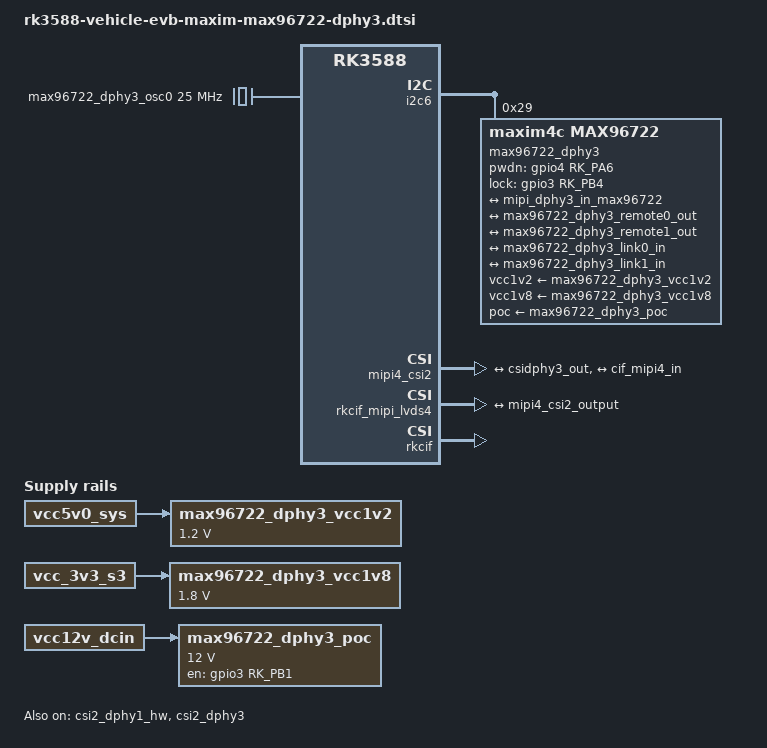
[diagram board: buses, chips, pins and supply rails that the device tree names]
// SPDX-License-Identifier: (GPL-2.0+ OR MIT)
/*
 * Copyright (c) 2023 Rockchip Electronics Co., Ltd.
 *
 */
#include <dt-bindings/display/media-bus-format.h>

/ {
	max96722_dphy3_osc0: max96722-dphy3-oscillator@0 {
		compatible = "fixed-clock";
		#clock-cells = <1>;
		clock-frequency = <25000000>;
		clock-output-names = "max96722-dphy3-osc0";
	};

	max96722_dphy3_vcc1v2: max96722-dphy3-vcc1v2 {
		compatible = "regulator-fixed";
		regulator-name = "max96722_dphy3_vcc1v2";
		regulator-boot-on;
		regulator-always-on;
		regulator-min-microvolt = <1200000>;
		regulator-max-microvolt = <1200000>;
		startup-delay-us = <850>;
		vin-supply = <&vcc5v0_sys>;
	};

	max96722_dphy3_vcc1v8: max96722-dphy3-vcc1v8 {
		compatible = "regulator-fixed";
		regulator-name = "max96722_dphy3_vcc1v8";
		regulator-boot-on;
		regulator-always-on;
		regulator-min-microvolt = <1800000>;
		regulator-max-microvolt = <1800000>;
		startup-delay-us = <200>;
		vin-supply = <&vcc_3v3_s3>;
	};

	max96722_dphy3_poc: max96722-dphy3-poc {
		compatible = "regulator-fixed";
		regulator-name = "max96722_dphy3_poc";
		regulator-boot-on;
		regulator-always-on;
		regulator-min-microvolt = <12000000>;
		regulator-max-microvolt = <12000000>;
		enable-active-high;
		gpio = <&gpio3 RK_PB1 GPIO_ACTIVE_HIGH>;
		startup-delay-us = <1050>;
		off-on-delay-us = <515000>;
		vin-supply = <&vcc12v_dcin>;
	};
};

&csi2_dphy1_hw {
	status = "okay";
};

&csi2_dphy3 {
	status = "okay";

	ports {
		#address-cells = <1>;
		#size-cells = <0>;
		port@0 {
			reg = <0>;
			#address-cells = <1>;
			#size-cells = <0>;

			mipi_dphy3_in_max96722: endpoint@1 {
				reg = <1>;
				remote-endpoint = <&max96722_dphy3_out>;
				data-lanes = <1 2 3 4>;
			};
		};
		port@1 {
			reg = <1>;
			#address-cells = <1>;
			#size-cells = <0>;

			csidphy3_out: endpoint@0 {
				reg = <0>;
				remote-endpoint = <&mipi4_csi2_input>;
			};
		};
	};
};

&i2c6 {
	status = "okay";
	pinctrl-names = "default";
	pinctrl-0 = <&i2c6m3_xfer>;

	max96722_dphy3: max96722@29 {
		compatible = "maxim4c,max96722";
		status = "okay";
		reg = <0x29>;
		clock-names = "xvclk";
		clocks = <&max96722_dphy3_osc0 0>;
		pinctrl-names = "default";
		pinctrl-0 = <&max96722_dphy3_pwdn>, <&max96722_dphy3_errb>, <&max96722_dphy3_lock>;
		power-domains = <&power RK3588_PD_VI>;
		rockchip,grf = <&sys_grf>;
		pwdn-gpios = <&gpio4 RK_PA6 GPIO_ACTIVE_HIGH>;
		lock-gpios = <&gpio3 RK_PB4 GPIO_ACTIVE_HIGH>;
		vcc1v2-supply = <&max96722_dphy3_vcc1v2>;
		vcc1v8-supply = <&max96722_dphy3_vcc1v8>;
		poc-supply = <&max96722_dphy3_poc>;

		rockchip,camera-module-index = <0>;
		rockchip,camera-module-facing = "back";
		rockchip,camera-module-name = "max96722";
		rockchip,camera-module-lens-name = "max96722";

		port {
			max96722_dphy3_out: endpoint {
				remote-endpoint = <&mipi_dphy3_in_max96722>;
				data-lanes = <1 2 3 4>;
			};
		};

		/* support mode config start */
		support-mode-config {
			status = "okay";

			bus-format = <MEDIA_BUS_FMT_UYVY8_2X8>;
			sensor-width = <1600>;
			sensor-height = <1300>;
			max-fps-numerator = <10000>;
			max-fps-denominator = <300000>;
			bpp = <16>;
			link-freq-idx = <20>;
			vc-array = <0x10 0x20 0x40 0x80>; // VC0~3: bit4~7
		};
		/* support mode config end */

		/* serdes local device start */
		serdes-local-device {
			status = "okay";

			/* GMSL LINK config start */
			gmsl-links {
				status = "okay";

				link-vdd-ldo1-en = <1>;
				link-vdd-ldo2-en = <1>;

				// Link A: link-id = 0
				gmsl-link-config-0 {
					status = "okay";
					link-id = <0>; // Link ID: 0/1/2/3

					link-type = <1>;
					link-rx-rate = <0>;
					link-tx-rate = <0>;

					port {
						max96722_dphy3_link0_in: endpoint {
							remote-endpoint = <&max96722_dphy3_remote0_out>;
						};
					};

					link-init-sequence {
						seq-item-size = <5>; // reg-addr-len + reg-val-len * 2 + 1
						reg-addr-len = <2>; // 1: 8bits, 2: 16bits
						reg-val-len = <1>; // 1: 8bits, 2: 16bits, 3: 24bits

						// reg_addr reg_val val_mask delay
						init-sequence = [
							14 D1 03 00 00 // VGAHiGain
							14 45 00 00 00 // Disable SSC
						];
					};
				};

				// Link B: link-id = 1
				gmsl-link-config-1 {
					status = "okay";
					link-id = <1>; // Link ID: 0/1/2/3

					link-type = <1>;
					link-rx-rate = <0>;
					link-tx-rate = <0>;

					port {
						max96722_dphy3_link1_in: endpoint {
							remote-endpoint = <&max96722_dphy3_remote1_out>;
						};
					};

					link-init-sequence {
						seq-item-size = <5>; // reg-addr-len + reg-val-len * 2 + 1
						reg-addr-len = <2>; // 1: 8bits, 2: 16bits
						reg-val-len = <1>; // 1: 8bits, 2: 16bits, 3: 24bits

						// reg_addr reg_val val_mask delay
						init-sequence = [
							15 D1 03 00 00 // VGAHiGain
							15 45 00 00 00 // Disable SSC
						];
					};
				};
			};
			/* GMSL LINK config end */

			/* VIDEO PIPE config start */
			video-pipes {
				status = "okay";

				// Video Pipe 0
				video-pipe-config-0 {
					status = "okay";
					pipe-id = <0>; // Video Pipe ID: 0/1/2/3/4/5/6/7

					pipe-idx = <0>; // Video Pipe X/Y/Z/U: 0/1/2/3
					link-idx = <0>; // Link A/B/C/D: 0/1/2/3

					pipe-init-sequence {
						seq-item-size = <5>; // reg-addr-len + reg-val-len * 2 + 1
						reg-addr-len = <2>; // 1: 8bits, 2: 16bits
						reg-val-len = <1>; // 1: 8bits, 2: 16bits, 3: 24bits

						// reg_addr reg_val val_mask delay
						init-sequence = [
							// Send YUV422, FS, and FE from Video Pipe 0 to Controller 1
							09 0B 07 00 00 // Enable 0/1/2 SRC/DST Mappings
							09 2D 15 00 00 // SRC/DST 0/1/2 -> CSI2 Controller 1;
							// For the following MSB 2 bits = VC, LSB 6 bits = DT
							09 0D 1e 00 00 // SRC0 VC = 0, DT = YUV422 8bit
							09 0E 1e 00 00 // DST0 VC = 0, DT = YUV422 8bit
							09 0F 00 00 00 // SRC1 VC = 0, DT = Frame Start
							09 10 00 00 00 // DST1 VC = 0, DT = Frame Start
							09 11 01 00 00 // SRC2 VC = 0, DT = Frame End
							09 12 01 00 00 // DST2 VC = 0, DT = Frame End
							// pipe Cross
							01 D9 59 00 00 // pipe 0: Inverts Cross VS
						];
					};
				};

				// Video Pipe 1
				video-pipe-config-1 {
					status = "okay";
					pipe-id = <1>; // Video Pipe 1: pipe-id = 1

					pipe-idx = <0>; // Video Pipe X/Y/Z/U: 0/1/2/3
					link-idx = <1>; // Link A/B/C/D: 0/1/2/3

					pipe-init-sequence {
						seq-item-size = <5>; // reg-addr-len + reg-val-len * 2 + 1
						reg-addr-len = <2>; // 1: 8bits, 2: 16bits
						reg-val-len = <1>; // 1: 8bits, 2: 16bits, 3: 24bits

						// reg_addr reg_val val_mask delay
						init-sequence = [
							// Send YUV422, FS, and FE from Video Pipe 1 to Controller 1
							09 4B 07 00 00 // Enable 0/1/2 SRC/DST Mappings
							09 6D 15 00 00 // SRC/DST 0/1/2 -> CSI2 Controller 1;
							// For the following MSB 2 bits = VC, LSB 6 bits = DT
							09 4D 1e 00 00 // SRC0 VC = 0, DT = YUV422 8bit
							09 4E 5e 00 00 // DST0 VC = 1, DT = YUV422 8bit
							09 4F 00 00 00 // SRC1 VC = 0, DT = Frame Start
							09 50 40 00 00 // DST1 VC = 1, DT = Frame Start
							09 51 01 00 00 // SRC2 VC = 0, DT = Frame End
							09 52 41 00 00 // DST2 VC = 1, DT = Frame End
							// pipe Cross
							01 F9 59 00 00 // pipe 1: Inverts Cross VS
						];
					};
				};

				// Software override for parallel mode
				parallel-mode-config {
					status = "okay";

					parallel-init-sequence {
						seq-item-size = <5>; // reg-addr-len + reg-val-len * 2 + 1
						reg-addr-len = <2>; // 1: 8bits, 2: 16bits
						reg-val-len = <1>; // 1: 8bits, 2: 16bits, 3: 24bits

						// reg_addr reg_val val_mask delay
						init-sequence = [
							// Enable software override for all pipes since GMSL1 data is parallel mode, bpp=8, dt=0x1e(yuv-8)
							04 1A f0 00 00 // pipe 0/1/2/3: Enable YUV8-/10-bit mux mode
							04 0B 40 00 00 // pipe 0 bpp=0x08: Datatypes = 0x2A, 0x10-12, 0x31-37
							04 0C 00 00 00 // pipe 0 and 1 VC software override: 0x00
							04 0D 00 00 00 // pipe 2 and 3 VC software override: 0x00
							04 0E 5e 00 00 // pipe 0 DT=0x1E: YUV422 8-bit
							04 0F 7e 00 00 // pipe 1 DT=0x1E: YUV422 8-bit
							04 10 7a 00 00 // pipe 2 DT=0x1E, pipe 3 DT=0x1E: YUV422 8-bit
							04 11 48 00 00 // pipe 1 bpp=0x08: Datatypes = 0x2A, 0x10-12, 0x31-37
							04 12 20 00 00 // pipe 2 bpp=0x08, pipe 3 bpp=0x08: Datatypes = 0x2A, 0x10-12, 0x31-37
							04 15 c0 c0 00 // pipe 0/1 enable software overide
							04 18 c0 c0 00 // pipe 2/3 enable software overide
						];
					};
				};
			};
			/* VIDEO PIPE config end */

			/* MIPI TXPHY config start */
			mipi-txphys {
				status = "okay";

				phy-mode = <0>;
				phy-force-clock-out = <1>;
				phy-force-clk0-en = <1>;
				phy-force-clk3-en = <0>;

				// MIPI TXPHY A: phy-id = 0
				mipi-txphy-config-0 {
					status = "okay";
					phy-id = <0>; // MIPI TXPHY ID: 0/1/2/3

					phy-type = <0>;
					auto-deskew = <0x80>;
					data-lane-num = <4>;
					data-lane-map = <0x4>;
					vc-ext-en = <0>;
				};

				// MIPI TXPHY B: phy-id = 1
				mipi-txphy-config-1 {
					status = "okay";
					phy-id = <1>; // MIPI TXPHY ID: 0/1/2/3

					phy-type = <0>;
					auto-deskew = <0x80>;
					data-lane-num = <4>;
					data-lane-map = <0xe>;
					vc-ext-en = <0>;
				};
			};
			/* MIPI TXPHY config end */

			/* local device extra init sequence */
			extra-init-sequence {
				status = "disabled";

				seq-item-size = <5>; // reg-addr-len + reg-val-len * 2 + 1
				reg-addr-len = <2>; // 1: 8bits, 2: 16bits
				reg-val-len = <1>; // 1: 8bits, 2: 16bits, 3: 24bits

				// reg_addr reg_val val_mask delay
				init-sequence = [
					// common init sequence such as fsync / gpio and so on
				];
			};
		};
		/* serdes local device end */

		/* serdes remote device start */
		serdes-remote-device-0 {
			compatible = "maxim4c,link0,max9295";
			status = "okay";

			remote-id = <0>; // Same as Link ID: 0/1/2/3

			// Serializer i2c 7bit address remap
			ser-i2c-addr-def = <0x40>;
			ser-i2c-addr-map = <0x41>; // 0: disable remap

			port {
				max96722_dphy3_remote0_out: endpoint {
					remote-endpoint = <&max96722_dphy3_link0_in>;
				};
			};

			remote-init-sequence {
				seq-item-size = <5>; // reg-addr-len + reg-val-len * 2 + 1
				reg-addr-len = <2>; // 1: 8bits, 2: 16bits
				reg-val-len = <1>; // 1: 8bits, 2: 16bits, 3: 24bits

				// reg_addr reg_val val_mask delay
				init-sequence = [
					00 01 04 00 00 // RX_RATE: 187.5Mbps, TX_RATE: 3Gbps
					00 11 03 00 00 // Coax Drive
					02 D6 03 00 00 // MFP8: GPIO_OUT_DIS = 1, GPIO_TX_EN = 1
					03 F0 51 00 00 // RCLK: 27MHz/24MHz (ALT),Enable reference-generation PLL, Enable pre-defined clock setting for reference-generation PLL
					00 03 07 00 00 // RCLK: Enable RCLK output from altermative MFP pin, RCLKOUT clock select reference PLL
					00 06 b1 00 00 // RCLK: GMSL2, Enable RCLK output, i2c selected
					02 C1 10 00 00 // MFP1: GPIO_OUT pin output is driven to 1 when GPIO_RX_EN = 0
					02 C2 60 00 00 // MFP1: OUT_TYPE = 1: Push-pull, PULL_UPDN_SEL[1:0] = 0b01: Pullup
					00 07 07 00 00 // Enable Parallel video input, Parallel HS and VS Enable
					00 10 05 00 00 // AUTO_LINK = 0, LINK_CFG = 1: LinkA is selected, REG_ENABLE = 1: Regulator enabled
					00 12 14 00 00 // REG_MNL = 1: Enable LDO on/off state controlled by REG_ENABLE
					01 00 62 00 00 // Video X, Line CRC enabled, ENC_MODE = 2: HS, VS, DE encoding on, color bits sent only when DE is high
					01 01 50 00 00 // Video X, BPP = 0x10
					00 53 10 00 00 // Video X, TX_STR_SEL = 0: Stream ID = 0 for packets from this channel
					00 02 13 00 00 // Video transmit enable for Port X
				];
			};
		};

		serdes-remote-device-1 {
			compatible = "maxim4c,link1,max9295";
			status = "okay";

			remote-id = <1>; // Same as Link ID: 0/1/2/3

			// Serializer i2c 7bit address remap
			ser-i2c-addr-def = <0x40>;
			ser-i2c-addr-map = <0x42>; // 0: disable remap

			port {
				max96722_dphy3_remote1_out: endpoint {
					remote-endpoint = <&max96722_dphy3_link1_in>;
				};
			};

			remote-init-sequence {
				seq-item-size = <5>; // reg-addr-len + reg-val-len * 2 + 1
				reg-addr-len = <2>; // 1: 8bits, 2: 16bits
				reg-val-len = <1>; // 1: 8bits, 2: 16bits, 3: 24bits

				// reg_addr reg_val val_mask delay
				init-sequence = [
					00 01 04 00 00 // RX_RATE: 187.5Mbps, TX_RATE: 3Gbps
					00 11 03 00 00 // Coax Drive
					02 D6 03 00 00 // MFP8: GPIO_OUT_DIS = 1, GPIO_TX_EN = 1
					03 F0 51 00 00 // RCLK: 27MHz/24MHz (ALT),Enable reference-generation PLL, Enable pre-defined clock setting for reference-generation PLL
					00 03 07 00 00 // RCLK: Enable RCLK output from altermative MFP pin, RCLKOUT clock select reference PLL
					00 06 b1 00 00 // RCLK: GMSL2, Enable RCLK output, i2c selected
					02 C1 10 00 00 // MFP1: GPIO_OUT pin output is driven to 1 when GPIO_RX_EN = 0
					02 C2 60 00 00 // MFP1: OUT_TYPE = 1: Push-pull, PULL_UPDN_SEL[1:0] = 0b01: Pullup
					00 07 07 00 00 // Enable Parallel video input, Parallel HS and VS Enable
					00 10 05 00 00 // AUTO_LINK = 0, LINK_CFG = 1: LinkA is selected, REG_ENABLE = 1: Regulator enabled
					00 12 14 00 00 // REG_MNL = 1: Enable LDO on/off state controlled by REG_ENABLE
					01 00 62 00 00 // Video X, Line CRC enabled, ENC_MODE = 2: HS, VS, DE encoding on, color bits sent only when DE is high
					01 01 50 00 00 // Video X, BPP = 0x10
					00 53 10 00 00 // Video X, TX_STR_SEL = 0: Stream ID = 0 for packets from this channel
					00 02 13 00 00 // Video transmit enable for Port X
				];
			};
		};
		/* serdes remote device end */
	};
};

&mipi4_csi2 {
	status = "okay";

	ports {
		#address-cells = <1>;
		#size-cells = <0>;

		port@0 {
			reg = <0>;
			#address-cells = <1>;
			#size-cells = <0>;

			mipi4_csi2_input: endpoint@1 {
				reg = <1>;
				remote-endpoint = <&csidphy3_out>;
			};
		};

		port@1 {
			reg = <1>;
			#address-cells = <1>;
			#size-cells = <0>;

			mipi4_csi2_output: endpoint@0 {
				reg = <0>;
				remote-endpoint = <&cif_mipi4_in>;
			};
		};
	};
};

&rkcif_mipi_lvds4 {
	status = "okay";
	/* parameters for do cif reset detecting:
	 * index0: monitor mode,
		   0 for idle,
		   1 for continue,
		   2 for trigger,
		   3 for hotplug (for nextchip)
	 * index1: the frame id to start timer,
		   min is 2
	 * index2: frame num of monitoring cycle
	 * index3: err time for keep monitoring
		   after finding out err (ms)
	 * index4: csi2 err reference val for resetting
	 */
	rockchip,cif-monitor = <3 2 1 1000 5>;

	port {
		cif_mipi4_in: endpoint {
			remote-endpoint = <&mipi4_csi2_output>;
		};
	};
};

&rkcif {
	status = "okay";
	rockchip,android-usb-camerahal-enable;
};

&rkcif_mmu {
	status = "okay";
};

&pinctrl {
	max96722-dphy3 {
		max96722_dphy3_pwdn: max96722-dphy3-pwdn {
			rockchip,pins = <4 RK_PA6 RK_FUNC_GPIO &pcfg_output_low>;
		};

		max96722_dphy3_errb: max96722-dphy3-errb {
			rockchip,pins = <0 RK_PC2 RK_FUNC_GPIO &pcfg_pull_none_smt>;
		};

		max96722_dphy3_lock: max96722-dphy3-lock {
			rockchip,pins = <3 RK_PB4 RK_FUNC_GPIO &pcfg_pull_none_smt>;
		};
	};
};
